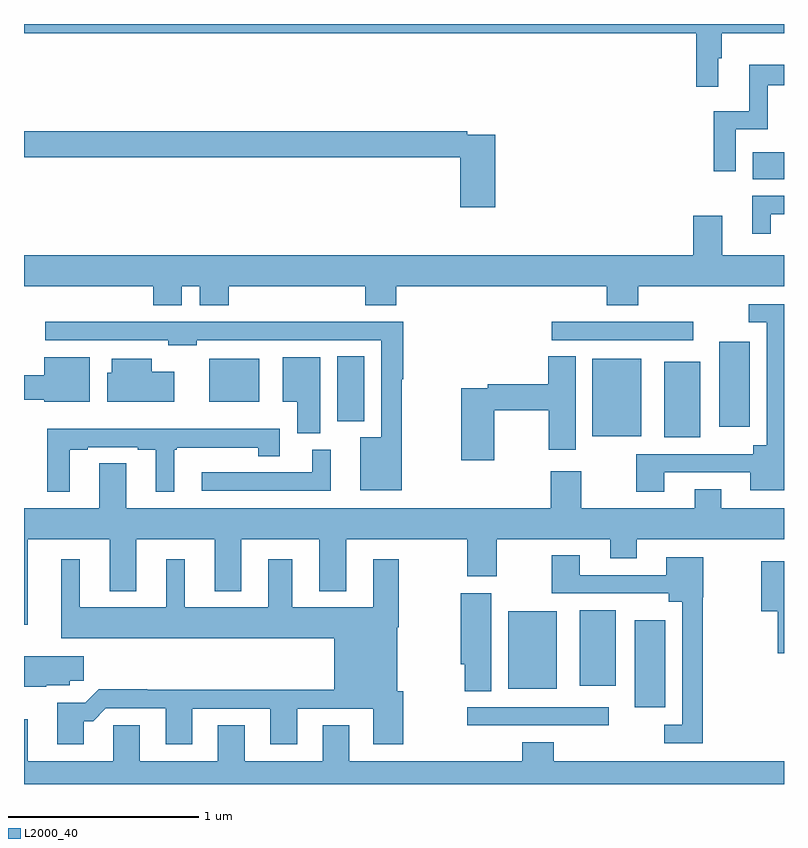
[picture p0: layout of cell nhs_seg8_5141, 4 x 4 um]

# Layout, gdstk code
import gdstk
lib = gdstk.Library(unit=1e-6, precision=1e-09)
def R(c, l, rs):  # rectangles x0, y0, x1, y1
    for r in rs: c.add(gdstk.rectangle(r[:2], r[2:], *l))
def P(c, l, *ps):  # polygons
    for p in ps: c.add(gdstk.Polygon(p, *l))
L2000_40 = (2000, 40)

nhs_seg8_5141 = lib.new_cell('nhs_seg8_5141')
R(nhs_seg8_5141, L2000_40, [(423.333,1094.208,424.078,1094.304), (424.214,1094.303,424.375,1094.761), (423.548,1094.402,423.805,1094.809), (423.926,1094.417,424.114,1094.815), (424.37,1095.725,424.558,1096.123), (423.992,1095.731,424.249,1096.138), (424.658,1095.78,424.819,1096.228), (422.648,1095.809,422.791,1096.151), (421.976,1095.911,422.239,1096.138), (423.777,1096.236,424.522,1096.332), (424.836,1097.084,425,1097.224)])
P(nhs_seg8_5141, L2000_40, [(424.654,1097.72),(424.673,1097.72),(424.673,1097.852),(425,1097.852),(425,1097.9),(421,1097.9),(421,1097.852),(424.537,1097.852),(424.537,1097.571),(424.654,1097.571)],
  [(424.746,1097.346),(424.915,1097.346),(424.915,1097.577),(425,1097.577),(425,1097.686),(424.817,1097.686),(424.817,1097.442),(424.63,1097.442),(424.63,1097.124),(424.746,1097.124)],
  [(423.479,1097.316),(423.332,1097.316),(423.332,1097.336),(421,1097.336),(421,1097.2),(423.296,1097.2),(423.296,1096.935),(423.479,1096.935)],
  [(424.93,1096.899),(425,1096.899),(425,1096.995),(424.832,1096.995),(424.832,1096.797),(424.93,1096.797)],
  [(421.831,1096.52),(421.925,1096.52),(421.925,1096.421),(422.078,1096.421),(422.078,1096.52),(422.795,1096.52),(422.795,1096.421),(422.96,1096.421),(422.96,1096.52),(424.067,1096.52),(424.067,1096.421),(424.232,1096.421),(424.232,1096.52),(425,1096.52),(425,1096.684),(424.675,1096.684),(424.675,1096.891),(424.523,1096.891),(424.523,1096.684),(421,1096.684),(421,1096.52),(421.679,1096.52),(421.679,1096.421),(421.831,1096.421)],
  [(424.369,1095.54),(424.823,1095.54),(424.823,1095.446),(425,1095.446),(425,1096.425),(424.815,1096.425),(424.815,1096.329),(424.908,1096.329),(424.908,1095.682),(424.838,1095.682),(424.838,1095.636),(424.222,1095.636),(424.222,1095.438),(424.369,1095.438)],
  [(422.989,1096.029),(422.996,1096.029),(422.996,1096.332),(422.711,1096.332),(422.711,1096.334),(422.161,1096.334),(422.161,1096.332),(421.658,1096.332),(421.658,1096.334),(421.113,1096.334),(421.113,1096.236),(421.758,1096.236),(421.758,1096.208),(421.908,1096.208),(421.908,1096.236),(422.88,1096.236),(422.88,1095.724),(422.771,1095.724),(422.771,1095.446),(422.989,1095.446)],
  [(423.474,1095.868),(423.763,1095.868),(423.763,1095.66),(423.904,1095.66),(423.904,1096.151),(423.758,1096.151),(423.758,1096.004),(423.442,1096.004),(423.442,1095.984),(423.301,1095.984),(423.301,1095.603),(423.474,1095.603)],
  [(421.345,1096.147),(421.106,1096.147),(421.106,1096.051),(421,1096.051),(421,1095.922),(421.106,1095.922),(421.106,1095.911),(421.345,1095.911)],
  [(422.56,1096.147),(422.363,1096.147),(422.363,1095.911),(422.438,1095.911),(422.438,1095.745),(422.56,1095.745)],
  [(421.792,1096.069),(421.672,1096.069),(421.672,1096.138),(421.463,1096.138),(421.463,1096.065),(421.439,1096.065),(421.439,1095.911),(421.792,1095.911)],
  [(421.24,1095.66),(421.336,1095.66),(421.336,1095.672),(421.598,1095.672),(421.598,1095.66),(421.694,1095.66),(421.694,1095.437),(421.792,1095.437),(421.792,1095.66),(421.804,1095.66),(421.804,1095.671),(422.234,1095.671),(422.234,1095.625),(422.347,1095.625),(422.347,1095.769),(421.123,1095.769),(421.123,1095.437),(421.24,1095.437)],
  [(422.614,1095.66),(422.516,1095.66),(422.516,1095.54),(421.935,1095.54),(421.935,1095.444),(422.614,1095.444)],
  [(421.021,1095.188),(421.451,1095.188),(421.451,1094.915),(421.591,1094.915),(421.591,1095.188),(422.003,1095.188),(422.003,1094.915),(422.143,1094.915),(422.143,1095.188),(422.555,1095.188),(422.555,1094.915),(422.695,1094.915),(422.695,1095.188),(423.334,1095.188),(423.334,1094.994),(423.489,1094.994),(423.489,1095.188),(424.085,1095.188),(424.085,1095.089),(424.225,1095.089),(424.225,1095.188),(425,1095.188),(425,1095.352),(424.669,1095.352),(424.669,1095.451),(424.529,1095.451),(424.529,1095.352),(423.933,1095.352),(423.933,1095.547),(423.773,1095.547),(423.773,1095.352),(421.537,1095.352),(421.537,1095.587),(421.397,1095.587),(421.397,1095.352),(421,1095.352),(421,1094.739),(421.021,1094.739)],
  [(424.573,1094.883),(424.576,1094.883),(424.576,1095.094),(424.379,1095.094),(424.379,1095),(423.925,1095),(423.925,1095.103),(423.778,1095.103),(423.778,1094.904),(424.394,1094.904),(424.394,1094.858),(424.464,1094.858),(424.464,1094.211),(424.371,1094.211),(424.371,1094.115),(424.573,1094.115)],
  [(421.315,1094.231),(421.364,1094.231),(421.431,1094.298),(421.745,1094.298),(421.745,1094.109),(421.885,1094.109),(421.885,1094.295),(422.297,1094.295),(422.297,1094.109),(422.437,1094.109),(422.437,1094.295),(422.837,1094.295),(422.837,1094.109),(422.997,1094.109),(422.997,1094.388),(422.965,1094.388),(422.965,1094.726),(422.973,1094.726),(422.973,1095.082),(422.837,1095.082),(422.837,1094.83),(422.413,1094.83),(422.413,1095.082),(422.285,1095.082),(422.285,1094.83),(421.846,1094.83),(421.846,1095.082),(421.748,1095.082),(421.748,1094.83),(421.294,1094.83),(421.294,1095.082),(421.196,1095.082),(421.196,1094.666),(422.633,1094.666),(422.633,1094.396),(421.649,1094.396),(421.649,1094.399),(421.394,1094.399),(421.323,1094.328),(421.175,1094.328),(421.175,1094.109),(421.315,1094.109)],
  [(425,1095.073),(424.88,1095.073),(424.88,1094.81),(424.966,1094.81),(424.966,1094.588),(425,1094.588)],
  [(423.46,1094.905),(423.298,1094.905),(423.298,1094.529),(423.319,1094.529),(423.319,1094.389),(423.46,1094.389)],
  [(421.116,1094.42),(421.242,1094.42),(421.242,1094.443),(421.315,1094.443),(421.315,1094.572),(421,1094.572),(421,1094.411),(421.116,1094.411)],
  [(425,1094.02),(423.788,1094.02),(423.788,1094.119),(423.623,1094.119),(423.623,1094.02),(422.713,1094.02),(422.713,1094.21),(422.573,1094.21),(422.573,1094.02),(422.161,1094.02),(422.161,1094.21),(422.021,1094.21),(422.021,1094.02),(421.609,1094.02),(421.609,1094.21),(421.47,1094.21),(421.47,1094.02),(421.021,1094.02),(421.021,1094.242),(421,1094.242),(421,1093.9),(425,1093.9)])

lib.write_gds('nhs_seg8_5141.gds')
